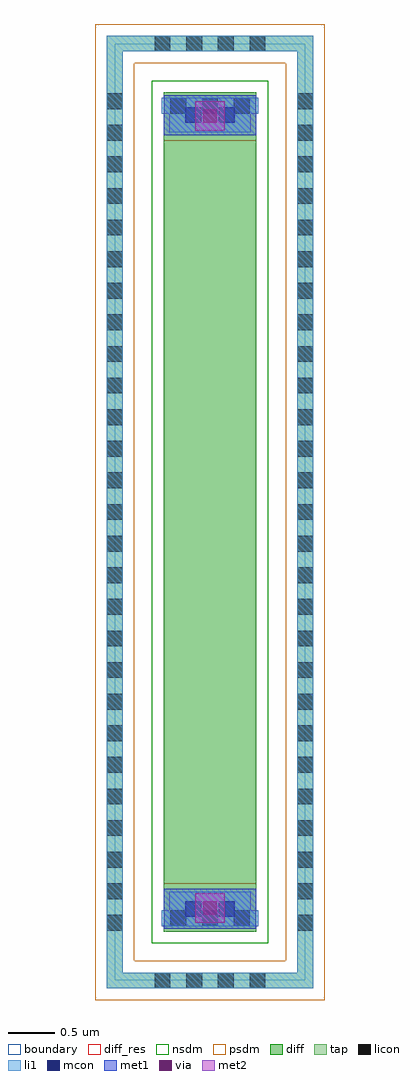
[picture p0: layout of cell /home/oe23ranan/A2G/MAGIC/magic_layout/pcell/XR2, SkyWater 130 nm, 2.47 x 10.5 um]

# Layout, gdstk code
import gdstk
lib = gdstk.Library(unit=1e-6, precision=1e-09)
def R(c, l, rs):  # rectangles x0, y0, x1, y1
    for r in rs: c.add(gdstk.rectangle(r[:2], r[2:], *l))
def A(c, l, x, y, w, h, nx, ny, dx, dy):  # array of equal rectangles
    R(c, l, [(x+i*dx, y+j*dy, x+i*dx+w, y+j*dy+h) for i in range(nx) for j in range(ny)])
diff_res = (65, 13)
diff = (65, 20)
tap = (65, 44)
licon = (66, 44)
li1 = (67, 20)
mcon = (67, 44)
met1 = (68, 20)
via = (68, 44)
met2 = (69, 20)
nsdm = (93, 44)
psdm = (94, 20)
boundary = (235, 4)

via_m1_m2_1 = lib.new_cell('via_M1_M2_1')
R(via_m1_m2_1, met1, [(-0.16,-0.16,0.16,0.16)])
R(via_m1_m2_1, via, [(-0.075,-0.075,0.075,0.075)])
R(via_m1_m2_1, met2, [(-0.16,-0.16,0.16,0.16)])

xr2_origin = lib.new_cell('XR2_origin')
R(xr2_origin, diff_res, [(-0.5,-4,0.5,4)])
R(xr2_origin, diff, [(-0.5,-4.515,0.5,4.515)])
R(xr2_origin, tap, [(-1.11,-5.125,1.11,-4.955), (-1.11,-4.955,-0.94,4.955), (0.94,-4.955,1.11,4.955), (-1.11,4.955,1.11,5.125)])
A(xr2_origin, licon, -0.595, -5.125, 0.17, 0.17, 4, 2, 0.34, 10.08)
A(xr2_origin, licon, -1.11, -4.505, 0.17, 0.17, 1, 27, 0, 0.34)
A(xr2_origin, licon, 0.94, -4.505, 0.17, 0.17, 1, 27, 0, 0.34)
A(xr2_origin, licon, -0.425, -4.455, 0.17, 0.17, 3, 2, 0.34, 8.74)
R(xr2_origin, li1, [(-1.11,-5.125,1.11,-4.955), (-1.11,-4.955,-0.94,4.955), (0.94,-4.955,1.11,4.955), (-0.52,-4.455,0.52,-4.285), (-0.44,-4.285,0.44,-4.085), (-0.44,4.085,0.44,4.285), (-0.52,4.285,0.52,4.455), (-1.11,4.955,1.11,5.125)])
R(xr2_origin, mcon, [(-0.265,-4.355,-0.095,-4.185), (0.095,-4.355,0.265,-4.185), (-0.265,4.185,-0.095,4.355), (0.095,4.185,0.265,4.355)])
R(xr2_origin, met1, [(-0.5,-4.485,0.5,-4.055), (-0.5,4.055,0.5,4.485)])
R(xr2_origin, nsdm, [(-0.625,-4.64,0.625,4.64)])
R(xr2_origin, psdm, [(-1.235,-5.25,1.235,-4.83), (-1.235,-4.83,-0.815,4.83), (0.815,-4.83,1.235,4.83), (-1.235,4.83,1.235,5.25)])
R(xr2_origin, boundary, [(-1.025,-5.04,1.025,5.04)])
xr2_origin.add(gdstk.Label('1', (0,4.265), layer=68, texttype=5))
xr2_origin.add(gdstk.Label('2', (0,-4.265), layer=68, texttype=5))

c__home_oe23ranan_a2g_magi = lib.new_cell('/home/oe23ranan/A2G/MAGIC/magic_layout/pcell/XR2')
c__home_oe23ranan_a2g_magi.add(gdstk.Reference(via_m1_m2_1, (0,-4.26)))
c__home_oe23ranan_a2g_magi.add(gdstk.Reference(via_m1_m2_1, (0,4.26)))
c__home_oe23ranan_a2g_magi.add(gdstk.Reference(xr2_origin, (0,0)))

lib.write_gds('_home_oe23ranan_A2G_MAGIC_magic_layout_pcell_XR2.gds')
